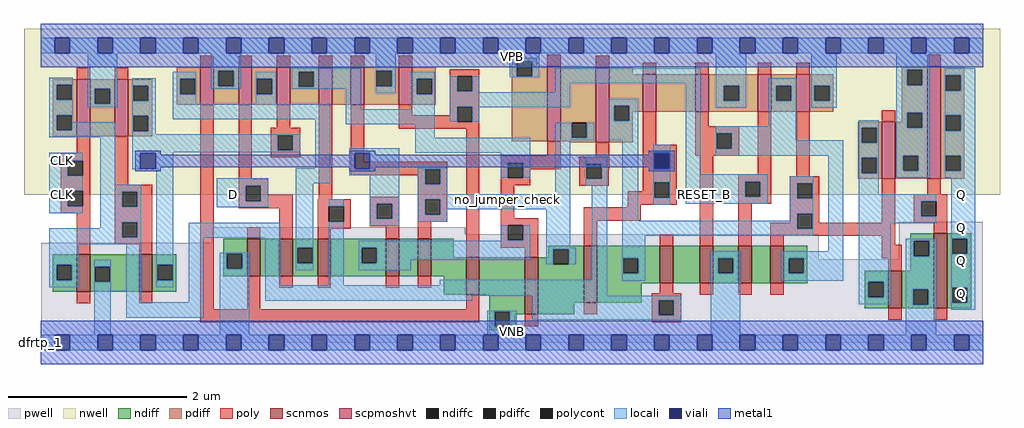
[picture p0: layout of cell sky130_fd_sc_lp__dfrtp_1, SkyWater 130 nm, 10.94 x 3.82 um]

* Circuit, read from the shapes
.subckt sky130_fd_sc_lp__dfrtp_1 CLK D RESET_B VGND VNB VPB VPWR Q
XM1 VGND CLK n1 VNB sky130_fd_pr__nfet_01v8 w=0.42 l=0.15
XM2 n2 n1 VGND VNB sky130_fd_pr__nfet_01v8 w=0.42 l=0.15
XM3 n3 RESET_B VGND VNB sky130_fd_pr__nfet_01v8 w=0.42 l=0.15
XM4 n4 D n3 VNB sky130_fd_pr__nfet_01v8 w=0.42 l=0.15
XM5 n5 n1 n4 VNB sky130_fd_pr__nfet_01v8 w=0.42 l=0.15
XM6 n6 n2 n5 VNB sky130_fd_pr__nfet_01v8 w=0.42 l=0.15
XM7 n7 n8 n6 VNB sky130_fd_pr__nfet_01v8 w=0.42 l=0.15
XM8 VGND RESET_B n7 VNB sky130_fd_pr__nfet_01v8 w=0.42 l=0.15
XM9 n8 n5 VGND VNB sky130_fd_pr__nfet_01v8 w=0.64 l=0.15
XM10 n9 n2 n8 VNB sky130_fd_pr__nfet_01v8 w=0.64 l=0.15
XM11 n10 n1 n9 VNB sky130_fd_pr__nfet_01v8 w=0.42 l=0.15
XM12 VGND n11 n10 VNB sky130_fd_pr__nfet_01v8 w=0.42 l=0.15
XM13 n12 RESET_B VGND VNB sky130_fd_pr__nfet_01v8 w=0.42 l=0.15
XM14 n11 n9 n12 VNB sky130_fd_pr__nfet_01v8 w=0.42 l=0.15
XM15 VGND n9 n13 VNB sky130_fd_pr__nfet_01v8 w=0.42 l=0.15
XM16 Q n13 VGND VNB sky130_fd_pr__nfet_01v8 w=0.84 l=0.15
XM17 VPWR CLK n1 VPB sky130_fd_pr__pfet_01v8_hvt w=0.64 l=0.15
XM18 n2 n1 VPWR VPB sky130_fd_pr__pfet_01v8_hvt w=0.64 l=0.15
XM19 VPWR RESET_B n4 VPB sky130_fd_pr__pfet_01v8_hvt w=0.42 l=0.15
XM20 n4 D VPWR VPB sky130_fd_pr__pfet_01v8_hvt w=0.42 l=0.15
XM21 n5 n2 n4 VPB sky130_fd_pr__pfet_01v8_hvt w=0.42 l=0.15
XM22 n14 n1 n5 VPB sky130_fd_pr__pfet_01v8_hvt w=0.42 l=0.15
XM23 VPWR n8 n14 VPB sky130_fd_pr__pfet_01v8_hvt w=0.42 l=0.15
XM24 n5 RESET_B VPWR VPB sky130_fd_pr__pfet_01v8_hvt w=0.42 l=0.15
XM25 n8 n5 VPWR VPB sky130_fd_pr__pfet_01v8_hvt w=0.84 l=0.15
XM26 n9 n1 n8 VPB sky130_fd_pr__pfet_01v8_hvt w=0.84 l=0.15
XM27 n15 n2 n9 VPB sky130_fd_pr__pfet_01v8_hvt w=0.42 l=0.15
XM28 VPWR n11 n15 VPB sky130_fd_pr__pfet_01v8_hvt w=0.42 l=0.15
XM29 n11 RESET_B VPWR VPB sky130_fd_pr__pfet_01v8_hvt w=0.42 l=0.15
XM30 VPWR n9 n11 VPB sky130_fd_pr__pfet_01v8_hvt w=0.42 l=0.15
XM31 VPWR n9 n13 VPB sky130_fd_pr__pfet_01v8_hvt w=0.64 l=0.15
XM32 Q n13 VPWR VPB sky130_fd_pr__pfet_01v8_hvt w=1.26 l=0.15
.ends

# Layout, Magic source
magic
tech sky130A
magscale 1 2
<< nwell >>
rect -38 331 2150 704
<< pwell >>
rect 383 243 951 259
rect 383 224 1744 243
rect 1 187 1744 224
rect 1923 187 2111 271
rect 1 49 2111 187
rect 0 0 2112 49
<< scnmos >>
rect 80 114 110 198
rect 220 114 250 198
rect 462 149 492 233
rect 534 149 564 233
rect 620 149 650 233
rect 773 149 803 233
rect 845 149 875 233
rect 953 107 983 191
rect 1085 63 1115 191
rect 1217 89 1247 217
rect 1387 133 1417 217
rect 1477 133 1507 217
rect 1563 133 1593 217
rect 1635 133 1665 217
rect 1900 77 1930 161
rect 2002 77 2032 245
<< scpmoshvt >>
rect 80 462 110 590
rect 166 462 196 590
rect 357 533 387 617
rect 443 533 473 617
rect 529 533 559 617
rect 623 533 653 617
rect 695 533 725 617
rect 802 533 832 617
rect 1135 451 1165 619
rect 1244 449 1274 617
rect 1349 517 1379 601
rect 1467 517 1497 601
rect 1607 517 1637 601
rect 1693 517 1723 601
rect 1885 367 1915 495
rect 1987 367 2017 619
<< ndiff >>
rect 27 174 80 198
rect 27 140 35 174
rect 69 140 80 174
rect 27 114 80 140
rect 110 170 220 198
rect 110 136 121 170
rect 155 136 220 170
rect 110 114 220 136
rect 250 174 303 198
rect 250 140 261 174
rect 295 140 303 174
rect 250 114 303 140
rect 409 199 462 233
rect 409 165 417 199
rect 451 165 462 199
rect 409 149 462 165
rect 492 149 534 233
rect 564 212 620 233
rect 564 178 575 212
rect 609 178 620 212
rect 564 149 620 178
rect 650 212 773 233
rect 650 178 719 212
rect 753 178 773 212
rect 650 149 773 178
rect 803 149 845 233
rect 875 191 925 233
rect 1949 228 2002 245
rect 1137 209 1217 217
rect 1137 191 1149 209
rect 875 149 953 191
rect 903 107 953 149
rect 983 107 1085 191
rect 1005 69 1085 107
rect 1005 35 1017 69
rect 1051 63 1085 69
rect 1115 175 1149 191
rect 1183 175 1217 209
rect 1115 89 1217 175
rect 1247 189 1387 217
rect 1247 155 1305 189
rect 1339 155 1387 189
rect 1247 133 1387 155
rect 1417 133 1477 217
rect 1507 189 1563 217
rect 1507 155 1518 189
rect 1552 155 1563 189
rect 1507 133 1563 155
rect 1593 133 1635 217
rect 1665 189 1718 217
rect 1665 155 1676 189
rect 1710 155 1718 189
rect 1949 194 1957 228
rect 1991 194 2002 228
rect 1949 161 2002 194
rect 1665 133 1718 155
rect 1847 136 1900 161
rect 1247 89 1347 133
rect 1115 63 1195 89
rect 1051 35 1063 63
rect 1847 102 1855 136
rect 1889 102 1900 136
rect 1847 77 1900 102
rect 1930 119 2002 161
rect 1930 85 1955 119
rect 1989 85 2002 119
rect 1930 77 2002 85
rect 2032 233 2085 245
rect 2032 199 2043 233
rect 2077 199 2085 233
rect 2032 123 2085 199
rect 2032 89 2043 123
rect 2077 89 2085 123
rect 2032 77 2085 89
rect 1005 27 1063 35
<< pdiff >>
rect 1055 631 1113 639
rect 304 591 357 617
rect 27 578 80 590
rect 27 544 35 578
rect 69 544 80 578
rect 27 510 80 544
rect 27 476 35 510
rect 69 476 80 510
rect 27 462 80 476
rect 110 569 166 590
rect 110 535 121 569
rect 155 535 166 569
rect 110 462 166 535
rect 196 576 249 590
rect 196 542 207 576
rect 241 542 249 576
rect 196 508 249 542
rect 304 557 312 591
rect 346 557 357 591
rect 304 533 357 557
rect 387 609 443 617
rect 387 575 398 609
rect 432 575 443 609
rect 387 533 443 575
rect 473 591 529 617
rect 473 557 484 591
rect 518 557 529 591
rect 473 533 529 557
rect 559 607 623 617
rect 559 573 578 607
rect 612 573 623 607
rect 559 533 623 573
rect 653 533 695 617
rect 725 609 802 617
rect 725 575 752 609
rect 786 575 802 609
rect 725 533 802 575
rect 832 591 885 617
rect 832 557 843 591
rect 877 557 885 591
rect 832 533 885 557
rect 196 474 207 508
rect 241 474 249 508
rect 196 462 249 474
rect 1055 597 1067 631
rect 1101 619 1113 631
rect 1101 597 1135 619
rect 1055 451 1135 597
rect 1165 617 1215 619
rect 1165 493 1244 617
rect 1165 459 1190 493
rect 1224 459 1244 493
rect 1165 451 1244 459
rect 1187 449 1244 451
rect 1274 601 1327 617
rect 1930 611 1987 619
rect 1274 531 1349 601
rect 1274 497 1285 531
rect 1319 517 1349 531
rect 1379 517 1467 601
rect 1497 576 1607 601
rect 1497 542 1531 576
rect 1565 542 1607 576
rect 1497 517 1607 542
rect 1637 576 1693 601
rect 1637 542 1648 576
rect 1682 542 1693 576
rect 1637 517 1693 542
rect 1723 576 1776 601
rect 1723 542 1734 576
rect 1768 542 1776 576
rect 1723 517 1776 542
rect 1930 577 1942 611
rect 1976 577 1987 611
rect 1319 497 1327 517
rect 1274 449 1327 497
rect 1930 515 1987 577
rect 1930 495 1942 515
rect 1832 482 1885 495
rect 1832 448 1840 482
rect 1874 448 1885 482
rect 1832 414 1885 448
rect 1832 380 1840 414
rect 1874 380 1885 414
rect 1832 367 1885 380
rect 1915 481 1942 495
rect 1976 481 1987 515
rect 1915 419 1987 481
rect 1915 385 1933 419
rect 1967 385 1987 419
rect 1915 367 1987 385
rect 2017 599 2070 619
rect 2017 565 2028 599
rect 2062 565 2070 599
rect 2017 509 2070 565
rect 2017 475 2028 509
rect 2062 475 2070 509
rect 2017 419 2070 475
rect 2017 385 2028 419
rect 2062 385 2070 419
rect 2017 367 2070 385
<< ndiffc >>
rect 35 140 69 174
rect 121 136 155 170
rect 261 140 295 174
rect 417 165 451 199
rect 575 178 609 212
rect 719 178 753 212
rect 1017 35 1051 69
rect 1149 175 1183 209
rect 1305 155 1339 189
rect 1518 155 1552 189
rect 1676 155 1710 189
rect 1957 194 1991 228
rect 1855 102 1889 136
rect 1955 85 1989 119
rect 2043 199 2077 233
rect 2043 89 2077 123
<< pdiffc >>
rect 35 544 69 578
rect 35 476 69 510
rect 121 535 155 569
rect 207 542 241 576
rect 312 557 346 591
rect 398 575 432 609
rect 484 557 518 591
rect 578 573 612 607
rect 752 575 786 609
rect 843 557 877 591
rect 207 474 241 508
rect 1067 597 1101 631
rect 1190 459 1224 493
rect 1285 497 1319 531
rect 1531 542 1565 576
rect 1648 542 1682 576
rect 1734 542 1768 576
rect 1942 577 1976 611
rect 1840 448 1874 482
rect 1840 380 1874 414
rect 1942 481 1976 515
rect 1933 385 1967 419
rect 2028 565 2062 599
rect 2028 475 2062 509
rect 2028 385 2062 419
<< poly >>
rect 357 617 387 643
rect 443 617 473 643
rect 529 617 559 643
rect 623 617 653 643
rect 695 617 725 643
rect 802 617 832 643
rect 80 590 110 616
rect 166 590 196 616
rect 917 597 983 613
rect 917 563 933 597
rect 967 563 983 597
rect 80 424 110 462
rect 44 408 110 424
rect 44 374 60 408
rect 94 374 110 408
rect 44 340 110 374
rect 44 306 60 340
rect 94 306 110 340
rect 44 290 110 306
rect 80 198 110 290
rect 166 354 196 462
rect 166 338 250 354
rect 166 304 182 338
rect 216 304 250 338
rect 166 270 250 304
rect 166 236 182 270
rect 216 236 250 270
rect 166 220 250 236
rect 220 198 250 220
rect 80 88 110 114
rect 220 88 250 114
rect 357 75 387 533
rect 443 367 473 533
rect 529 481 559 533
rect 515 465 581 481
rect 515 431 531 465
rect 565 431 581 465
rect 515 415 581 431
rect 443 351 509 367
rect 443 317 459 351
rect 493 331 509 351
rect 493 317 564 331
rect 623 321 653 533
rect 695 405 725 533
rect 802 509 832 533
rect 917 529 983 563
rect 917 509 933 529
rect 802 495 933 509
rect 967 495 983 529
rect 802 479 983 495
rect 695 389 911 405
rect 695 375 861 389
rect 845 355 861 375
rect 895 355 911 389
rect 443 301 564 317
rect 462 233 492 259
rect 534 233 564 301
rect 620 305 695 321
rect 620 271 645 305
rect 679 271 695 305
rect 620 255 695 271
rect 737 311 803 327
rect 737 277 753 311
rect 787 277 803 311
rect 737 261 803 277
rect 620 233 650 255
rect 773 233 803 261
rect 845 321 911 355
rect 845 287 861 321
rect 895 287 911 321
rect 845 271 911 287
rect 845 233 875 271
rect 953 191 983 479
rect 1135 619 1165 645
rect 1244 617 1274 643
rect 1135 419 1165 451
rect 1349 601 1379 627
rect 1467 601 1497 627
rect 1607 601 1637 627
rect 1693 601 1723 627
rect 1987 619 2017 645
rect 1031 403 1165 419
rect 1244 417 1274 449
rect 1031 369 1047 403
rect 1081 389 1165 403
rect 1207 401 1274 417
rect 1081 369 1097 389
rect 1031 353 1097 369
rect 1207 367 1223 401
rect 1257 387 1274 401
rect 1349 443 1379 517
rect 1467 485 1497 517
rect 1467 469 1565 485
rect 1349 427 1425 443
rect 1349 393 1375 427
rect 1409 393 1425 427
rect 1467 435 1515 469
rect 1549 435 1565 469
rect 1467 419 1565 435
rect 1257 367 1273 387
rect 1031 279 1061 353
rect 1207 351 1273 367
rect 1349 359 1425 393
rect 1349 339 1375 359
rect 1315 325 1375 339
rect 1409 325 1425 359
rect 1315 309 1425 325
rect 1315 303 1345 309
rect 1031 263 1115 279
rect 1031 229 1047 263
rect 1081 229 1115 263
rect 1031 213 1115 229
rect 1217 273 1345 303
rect 1217 217 1247 273
rect 1387 217 1417 243
rect 1477 217 1507 419
rect 1607 377 1637 517
rect 1563 361 1637 377
rect 1693 373 1723 517
rect 1885 495 1915 521
rect 1563 327 1579 361
rect 1613 327 1637 361
rect 1563 311 1637 327
rect 1679 357 1745 373
rect 1679 323 1695 357
rect 1729 323 1745 357
rect 1563 217 1593 311
rect 1679 289 1745 323
rect 1679 269 1695 289
rect 1635 255 1695 269
rect 1729 269 1745 289
rect 1885 269 1915 367
rect 1987 333 2017 367
rect 1729 255 1915 269
rect 1957 317 2032 333
rect 1957 283 1973 317
rect 2007 283 2032 317
rect 1957 267 2032 283
rect 1635 239 1915 255
rect 2002 245 2032 267
rect 1635 217 1665 239
rect 1885 219 1915 239
rect 1085 191 1115 213
rect 462 75 492 149
rect 534 123 564 149
rect 620 123 650 149
rect 773 123 803 149
rect 845 123 875 149
rect 953 75 983 107
rect 357 45 983 75
rect 1885 189 1930 219
rect 1900 161 1930 189
rect 1387 111 1417 133
rect 1369 95 1435 111
rect 1477 107 1507 133
rect 1563 107 1593 133
rect 1635 107 1665 133
rect 1217 63 1247 89
rect 1085 37 1115 63
rect 1369 61 1385 95
rect 1419 61 1435 95
rect 1369 45 1435 61
rect 1900 51 1930 77
rect 2002 51 2032 77
<< polycont >>
rect 933 563 967 597
rect 60 374 94 408
rect 60 306 94 340
rect 182 304 216 338
rect 182 236 216 270
rect 531 431 565 465
rect 459 317 493 351
rect 933 495 967 529
rect 861 355 895 389
rect 645 271 679 305
rect 753 277 787 311
rect 861 287 895 321
rect 1047 369 1081 403
rect 1223 367 1257 401
rect 1375 393 1409 427
rect 1515 435 1549 469
rect 1375 325 1409 359
rect 1047 229 1081 263
rect 1579 327 1613 361
rect 1695 323 1729 357
rect 1695 255 1729 289
rect 1973 283 2007 317
rect 1385 61 1419 95
<< locali >>
rect 0 649 31 683
rect 65 649 127 683
rect 161 649 223 683
rect 257 649 319 683
rect 353 649 415 683
rect 449 649 511 683
rect 545 649 607 683
rect 641 649 703 683
rect 737 649 799 683
rect 833 649 895 683
rect 929 649 991 683
rect 1025 649 1087 683
rect 1121 649 1183 683
rect 1217 649 1279 683
rect 1313 649 1375 683
rect 1409 649 1471 683
rect 1505 649 1567 683
rect 1601 649 1663 683
rect 1697 649 1759 683
rect 1793 649 1855 683
rect 1889 649 1951 683
rect 1985 649 2047 683
rect 2081 649 2112 683
rect 19 578 71 594
rect 19 544 35 578
rect 69 544 71 578
rect 19 510 71 544
rect 105 569 171 649
rect 382 609 448 649
rect 105 535 121 569
rect 155 535 171 569
rect 105 528 171 535
rect 205 576 257 592
rect 205 542 207 576
rect 241 542 257 576
rect 19 476 35 510
rect 69 494 71 510
rect 205 508 257 542
rect 69 476 167 494
rect 19 460 167 476
rect 19 408 94 426
rect 19 374 60 408
rect 19 340 94 374
rect 19 306 60 340
rect 19 290 94 306
rect 133 354 167 460
rect 205 474 207 508
rect 241 474 257 508
rect 296 591 348 607
rect 296 557 312 591
rect 346 557 348 591
rect 382 575 398 609
rect 432 575 448 609
rect 562 607 717 615
rect 382 569 448 575
rect 482 591 528 607
rect 296 535 348 557
rect 482 557 484 591
rect 518 557 528 591
rect 562 573 578 607
rect 612 573 717 607
rect 562 569 717 573
rect 482 535 528 557
rect 296 501 649 535
rect 205 467 257 474
rect 205 465 581 467
rect 205 431 531 465
rect 565 431 581 465
rect 205 427 581 431
rect 205 424 297 427
rect 205 390 223 424
rect 257 390 297 424
rect 615 391 649 501
rect 683 523 717 569
rect 751 609 795 649
rect 751 575 752 609
rect 786 575 795 609
rect 1051 631 1117 649
rect 751 559 795 575
rect 829 591 883 607
rect 1051 597 1067 631
rect 1101 597 1117 631
rect 829 557 843 591
rect 877 557 883 591
rect 829 523 883 557
rect 683 489 883 523
rect 917 563 933 597
rect 967 563 983 597
rect 1051 595 1117 597
rect 917 561 983 563
rect 1153 581 1479 615
rect 1153 561 1187 581
rect 917 529 1187 561
rect 917 495 933 529
rect 967 527 1187 529
rect 1274 531 1339 547
rect 967 495 983 527
rect 1274 497 1285 531
rect 1319 497 1339 531
rect 839 459 883 489
rect 1153 459 1190 493
rect 1224 459 1240 493
rect 205 388 297 390
rect 133 338 225 354
rect 133 304 182 338
rect 216 304 225 338
rect 133 270 225 304
rect 133 256 182 270
rect 19 236 182 256
rect 216 236 225 270
rect 19 220 225 236
rect 19 174 85 220
rect 19 140 35 174
rect 69 140 85 174
rect 19 124 85 140
rect 119 170 157 186
rect 119 136 121 170
rect 155 136 157 170
rect 119 17 157 136
rect 191 90 225 220
rect 259 174 297 388
rect 394 351 509 368
rect 394 317 459 351
rect 493 317 509 351
rect 394 303 509 317
rect 571 357 649 391
rect 691 424 803 436
rect 839 425 1097 459
rect 691 390 703 424
rect 737 390 803 424
rect 1031 403 1097 425
rect 691 375 803 390
rect 259 140 261 174
rect 295 140 297 174
rect 259 124 297 140
rect 331 235 537 269
rect 331 90 365 235
rect 191 56 365 90
rect 401 199 467 201
rect 401 165 417 199
rect 451 165 467 199
rect 401 17 467 165
rect 503 128 537 235
rect 571 212 611 357
rect 571 178 575 212
rect 609 178 611 212
rect 571 162 611 178
rect 645 305 679 321
rect 645 128 679 271
rect 737 311 803 375
rect 737 277 753 311
rect 787 277 803 311
rect 737 262 803 277
rect 845 389 911 391
rect 845 355 861 389
rect 895 355 911 389
rect 1031 369 1047 403
rect 1081 369 1097 403
rect 1153 453 1240 459
rect 1274 453 1339 497
rect 845 333 911 355
rect 1153 333 1187 453
rect 1221 401 1269 417
rect 1221 367 1223 401
rect 1257 367 1269 401
rect 1221 351 1269 367
rect 845 321 1187 333
rect 845 287 861 321
rect 895 299 1187 321
rect 895 287 911 299
rect 845 271 911 287
rect 1031 229 1047 263
rect 1081 229 1097 263
rect 1031 228 1097 229
rect 713 212 1097 228
rect 713 178 719 212
rect 753 186 1097 212
rect 1133 213 1187 299
rect 1133 209 1199 213
rect 753 178 829 186
rect 713 162 829 178
rect 1133 175 1149 209
rect 1183 175 1199 209
rect 1235 141 1269 351
rect 894 128 1269 141
rect 1303 273 1339 453
rect 1373 427 1411 443
rect 1373 390 1375 427
rect 1409 390 1411 427
rect 1373 359 1411 390
rect 1373 325 1375 359
rect 1409 325 1411 359
rect 1373 309 1411 325
rect 1445 377 1479 581
rect 1513 576 1581 649
rect 1513 542 1531 576
rect 1565 542 1581 576
rect 1513 526 1581 542
rect 1632 576 1693 592
rect 1632 542 1648 576
rect 1682 542 1693 576
rect 1632 485 1693 542
rect 1727 576 1784 649
rect 1727 542 1734 576
rect 1768 542 1784 576
rect 1727 526 1784 542
rect 1917 611 1992 649
rect 1917 577 1942 611
rect 1976 577 1992 611
rect 1917 515 1992 577
rect 1513 469 1693 485
rect 1513 435 1515 469
rect 1549 453 1693 469
rect 1833 482 1878 498
rect 1549 435 1799 453
rect 1513 419 1799 435
rect 1445 361 1629 377
rect 1445 327 1579 361
rect 1613 327 1629 361
rect 1445 311 1629 327
rect 1679 357 1731 373
rect 1679 323 1695 357
rect 1729 323 1731 357
rect 1679 289 1731 323
rect 1679 273 1695 289
rect 1303 255 1695 273
rect 1729 255 1731 289
rect 1303 239 1731 255
rect 1303 189 1355 239
rect 1765 205 1799 419
rect 1303 155 1305 189
rect 1339 155 1355 189
rect 1303 139 1355 155
rect 1502 189 1568 205
rect 1502 155 1518 189
rect 1552 155 1568 189
rect 503 105 1269 128
rect 503 94 967 105
rect 1101 95 1435 105
rect 1001 69 1067 71
rect 1001 35 1017 69
rect 1051 35 1067 69
rect 1101 61 1385 95
rect 1419 61 1435 95
rect 1101 51 1435 61
rect 1001 17 1067 35
rect 1502 17 1568 155
rect 1660 189 1799 205
rect 1660 155 1676 189
rect 1710 155 1799 189
rect 1660 139 1799 155
rect 1833 448 1840 482
rect 1874 448 1878 482
rect 1833 414 1878 448
rect 1833 380 1840 414
rect 1874 380 1878 414
rect 1833 333 1878 380
rect 1917 481 1942 515
rect 1976 481 1992 515
rect 1917 419 1992 481
rect 1917 385 1933 419
rect 1967 385 1992 419
rect 1917 369 1992 385
rect 2026 599 2095 615
rect 2026 565 2028 599
rect 2062 565 2095 599
rect 2026 509 2095 565
rect 2026 475 2028 509
rect 2062 475 2095 509
rect 2026 419 2095 475
rect 2026 385 2028 419
rect 2062 385 2095 419
rect 2026 369 2095 385
rect 1833 317 2007 333
rect 1833 283 1973 317
rect 1833 267 2007 283
rect 1833 136 1905 267
rect 2041 233 2095 369
rect 1833 102 1855 136
rect 1889 102 1905 136
rect 1833 86 1905 102
rect 1939 228 2007 233
rect 1939 194 1957 228
rect 1991 194 2007 228
rect 1939 119 2007 194
rect 1939 85 1955 119
rect 1989 85 2007 119
rect 1939 17 2007 85
rect 2041 199 2043 233
rect 2077 199 2095 233
rect 2041 123 2095 199
rect 2041 89 2043 123
rect 2077 89 2095 123
rect 2041 73 2095 89
rect 0 -17 31 17
rect 65 -17 127 17
rect 161 -17 223 17
rect 257 -17 319 17
rect 353 -17 415 17
rect 449 -17 511 17
rect 545 -17 607 17
rect 641 -17 703 17
rect 737 -17 799 17
rect 833 -17 895 17
rect 929 -17 991 17
rect 1025 -17 1087 17
rect 1121 -17 1183 17
rect 1217 -17 1279 17
rect 1313 -17 1375 17
rect 1409 -17 1471 17
rect 1505 -17 1567 17
rect 1601 -17 1663 17
rect 1697 -17 1759 17
rect 1793 -17 1855 17
rect 1889 -17 1951 17
rect 1985 -17 2047 17
rect 2081 -17 2112 17
<< viali >>
rect 31 649 65 683
rect 127 649 161 683
rect 223 649 257 683
rect 319 649 353 683
rect 415 649 449 683
rect 511 649 545 683
rect 607 649 641 683
rect 703 649 737 683
rect 799 649 833 683
rect 895 649 929 683
rect 991 649 1025 683
rect 1087 649 1121 683
rect 1183 649 1217 683
rect 1279 649 1313 683
rect 1375 649 1409 683
rect 1471 649 1505 683
rect 1567 649 1601 683
rect 1663 649 1697 683
rect 1759 649 1793 683
rect 1855 649 1889 683
rect 1951 649 1985 683
rect 2047 649 2081 683
rect 223 390 257 424
rect 703 390 737 424
rect 1375 393 1409 424
rect 1375 390 1409 393
rect 31 -17 65 17
rect 127 -17 161 17
rect 223 -17 257 17
rect 319 -17 353 17
rect 415 -17 449 17
rect 511 -17 545 17
rect 607 -17 641 17
rect 703 -17 737 17
rect 799 -17 833 17
rect 895 -17 929 17
rect 991 -17 1025 17
rect 1087 -17 1121 17
rect 1183 -17 1217 17
rect 1279 -17 1313 17
rect 1375 -17 1409 17
rect 1471 -17 1505 17
rect 1567 -17 1601 17
rect 1663 -17 1697 17
rect 1759 -17 1793 17
rect 1855 -17 1889 17
rect 1951 -17 1985 17
rect 2047 -17 2081 17
<< metal1 >>
rect 0 683 2112 715
rect 0 649 31 683
rect 65 649 127 683
rect 161 649 223 683
rect 257 649 319 683
rect 353 649 415 683
rect 449 649 511 683
rect 545 649 607 683
rect 641 649 703 683
rect 737 649 799 683
rect 833 649 895 683
rect 929 649 991 683
rect 1025 649 1087 683
rect 1121 649 1183 683
rect 1217 649 1279 683
rect 1313 649 1375 683
rect 1409 649 1471 683
rect 1505 649 1567 683
rect 1601 649 1663 683
rect 1697 649 1759 683
rect 1793 649 1855 683
rect 1889 649 1951 683
rect 1985 649 2047 683
rect 2081 649 2112 683
rect 0 617 2112 649
rect 211 424 269 430
rect 211 390 223 424
rect 257 421 269 424
rect 691 424 749 430
rect 691 421 703 424
rect 257 393 703 421
rect 257 390 269 393
rect 211 384 269 390
rect 691 390 703 393
rect 737 421 749 424
rect 1363 424 1421 430
rect 1363 421 1375 424
rect 737 393 1375 421
rect 737 390 749 393
rect 691 384 749 390
rect 1363 390 1375 393
rect 1409 390 1421 424
rect 1363 384 1421 390
rect 0 17 2112 49
rect 0 -17 31 17
rect 65 -17 127 17
rect 161 -17 223 17
rect 257 -17 319 17
rect 353 -17 415 17
rect 449 -17 511 17
rect 545 -17 607 17
rect 641 -17 703 17
rect 737 -17 799 17
rect 833 -17 895 17
rect 929 -17 991 17
rect 1025 -17 1087 17
rect 1121 -17 1183 17
rect 1217 -17 1279 17
rect 1313 -17 1375 17
rect 1409 -17 1471 17
rect 1505 -17 1567 17
rect 1601 -17 1663 17
rect 1697 -17 1759 17
rect 1793 -17 1855 17
rect 1889 -17 1951 17
rect 1985 -17 2047 17
rect 2081 -17 2112 17
rect 0 -49 2112 -17
<< labels >>
flabel pwell s 0 0 2112 49 0 FreeSans 200 0 0 0 VNB
port 5 nsew ground bidirectional
flabel nwell s 0 617 2112 666 0 FreeSans 200 0 0 0 VPB
port 6 nsew power bidirectional
rlabel comment s 0 0 0 0 4 dfrtp_1
flabel comment s 1045 321 1045 321 0 FreeSans 200 90 0 0 no_jumper_check
flabel metal1 s 0 617 2112 666 0 FreeSans 340 0 0 0 VPWR
port 7 nsew power bidirectional
flabel metal1 s 0 0 2112 49 0 FreeSans 340 0 0 0 VGND
port 4 nsew ground bidirectional
flabel locali s 31 316 65 350 0 FreeSans 340 0 0 0 CLK
port 1 nsew clock input
flabel locali s 31 390 65 424 0 FreeSans 340 0 0 0 CLK
port 1 nsew clock input
flabel locali s 415 316 449 350 0 FreeSans 340 0 0 0 D
port 2 nsew signal input
flabel locali s 2047 94 2081 128 0 FreeSans 340 0 0 0 Q
port 8 nsew signal output
flabel locali s 2047 168 2081 202 0 FreeSans 340 0 0 0 Q
port 8 nsew signal output
flabel locali s 2047 242 2081 276 0 FreeSans 340 0 0 0 Q
port 8 nsew signal output
flabel locali s 2047 316 2081 350 0 FreeSans 340 0 0 0 Q
port 8 nsew signal output
flabel locali s 1471 316 1505 350 0 FreeSans 340 0 0 0 RESET_B
port 3 nsew signal input
<< properties >>
string LEFsite unit
string LEFclass CORE
string FIXED_BBOX 0 0 2112 666
string GDS_FILE $PDKPATH/libs.ref/sky130_fd_sc_lp/gds/sky130_fd_sc_lp.gds
string LEFsymmetry X Y R90
string GDS_END 570756
string GDS_START 555284
<< end >>
